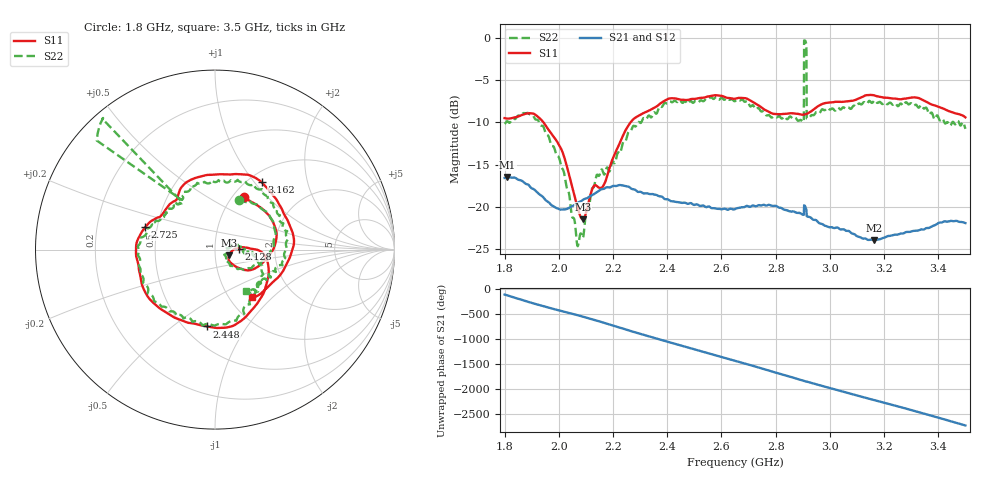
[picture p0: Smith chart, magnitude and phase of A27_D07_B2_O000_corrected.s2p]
! Created with skrf 1.9.0 (http://scikit-rf.org).
# Hz S RI R 50.0
!freq ReS11 ImS11 ReS21 ImS21 ReS12 ImS12 ReS22 ImS22
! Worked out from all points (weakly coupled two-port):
!   1601 points, 1.8 GHz to 3.5 GHz, reference 50 ohm
!   highest |S21| = -16.47 dB at 1.811 GHz (marker M1); lowest = -23.9 dB at 3.162 GHz (marker M2)
!   lowest |S11| = -21.5 dB at 2.089 GHz (marker M3), VSWR 1.18, Z = 58.4 - j3.64 ohm
!   |S11| at or under -10 dB: 1.943 GHz to 2.265 GHz (321.6 MHz wide, 15.3 % of centre)
!   |S22| runs from -24.6 to -0.3 dB; largest |S21 - S12| = 0.0028
!   S11 on the Smith chart (normalised r, x): 1.8 GHz: 1.12, +0.74; 2.128 GHz: 1.30, +0.01; 2.448 GHz: 0.64, -0.67; 2.725 GHz: 0.43, +0.13; 3.162 GHz: 1.15, +1.09; 3.5 GHz: 1.27, -0.76
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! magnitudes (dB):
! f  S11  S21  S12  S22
! 1.8 GHz  -9.5  -16.6  -16.6  -10.2
! 1.811 GHz  -9.6  -16.5  -16.5  -9.9
! 1.941 GHz  -9.9  -18.8  -18.8  -10.4
! 2.011 GHz  -13.3  -20.3  -20.3  -15.4
! 2.067 GHz  -19.8  -19.6  -19.6  -24.2
! 2.084 GHz  -21.4  -19.3  -19.3  -23.2
! 2.089 GHz  -21.5  -19.2  -19.2  -23.6
! 2.128 GHz  -17.6  -18.5  -18.5  -17.7
! 2.166 GHz  -17.4  -17.9  -17.8  -16.1
! 2.266 GHz  -9.9  -17.8  -17.8  -11.0
! 2.367 GHz  -8.0  -18.7  -18.6  -8.4
! 2.448 GHz  -7.3  -19.5  -19.5  -7.4
! 2.65 GHz  -7.2  -20.3  -20.2  -7.5
! 2.725 GHz  -7.8  -19.9  -19.9  -8.4
! 2.895 GHz  -9.1  -20.8  -20.8  -9.8
! 2.905 GHz  -9.1  -19.8  -19.8  -0.3
! 2.913 GHz  -9.0  -20.4  -20.4  -1.0
! 2.923 GHz  -8.9  -21.2  -21.2  -9.5
! 2.934 GHz  -8.6  -21.4  -21.4  -9.1
! 3.162 GHz  -6.8  -23.9  -23.9  -7.5
! 3.217 GHz  -7.1  -23.4  -23.4  -7.8
! 3.5 GHz  -9.4  -21.9  -21.9  -10.8
